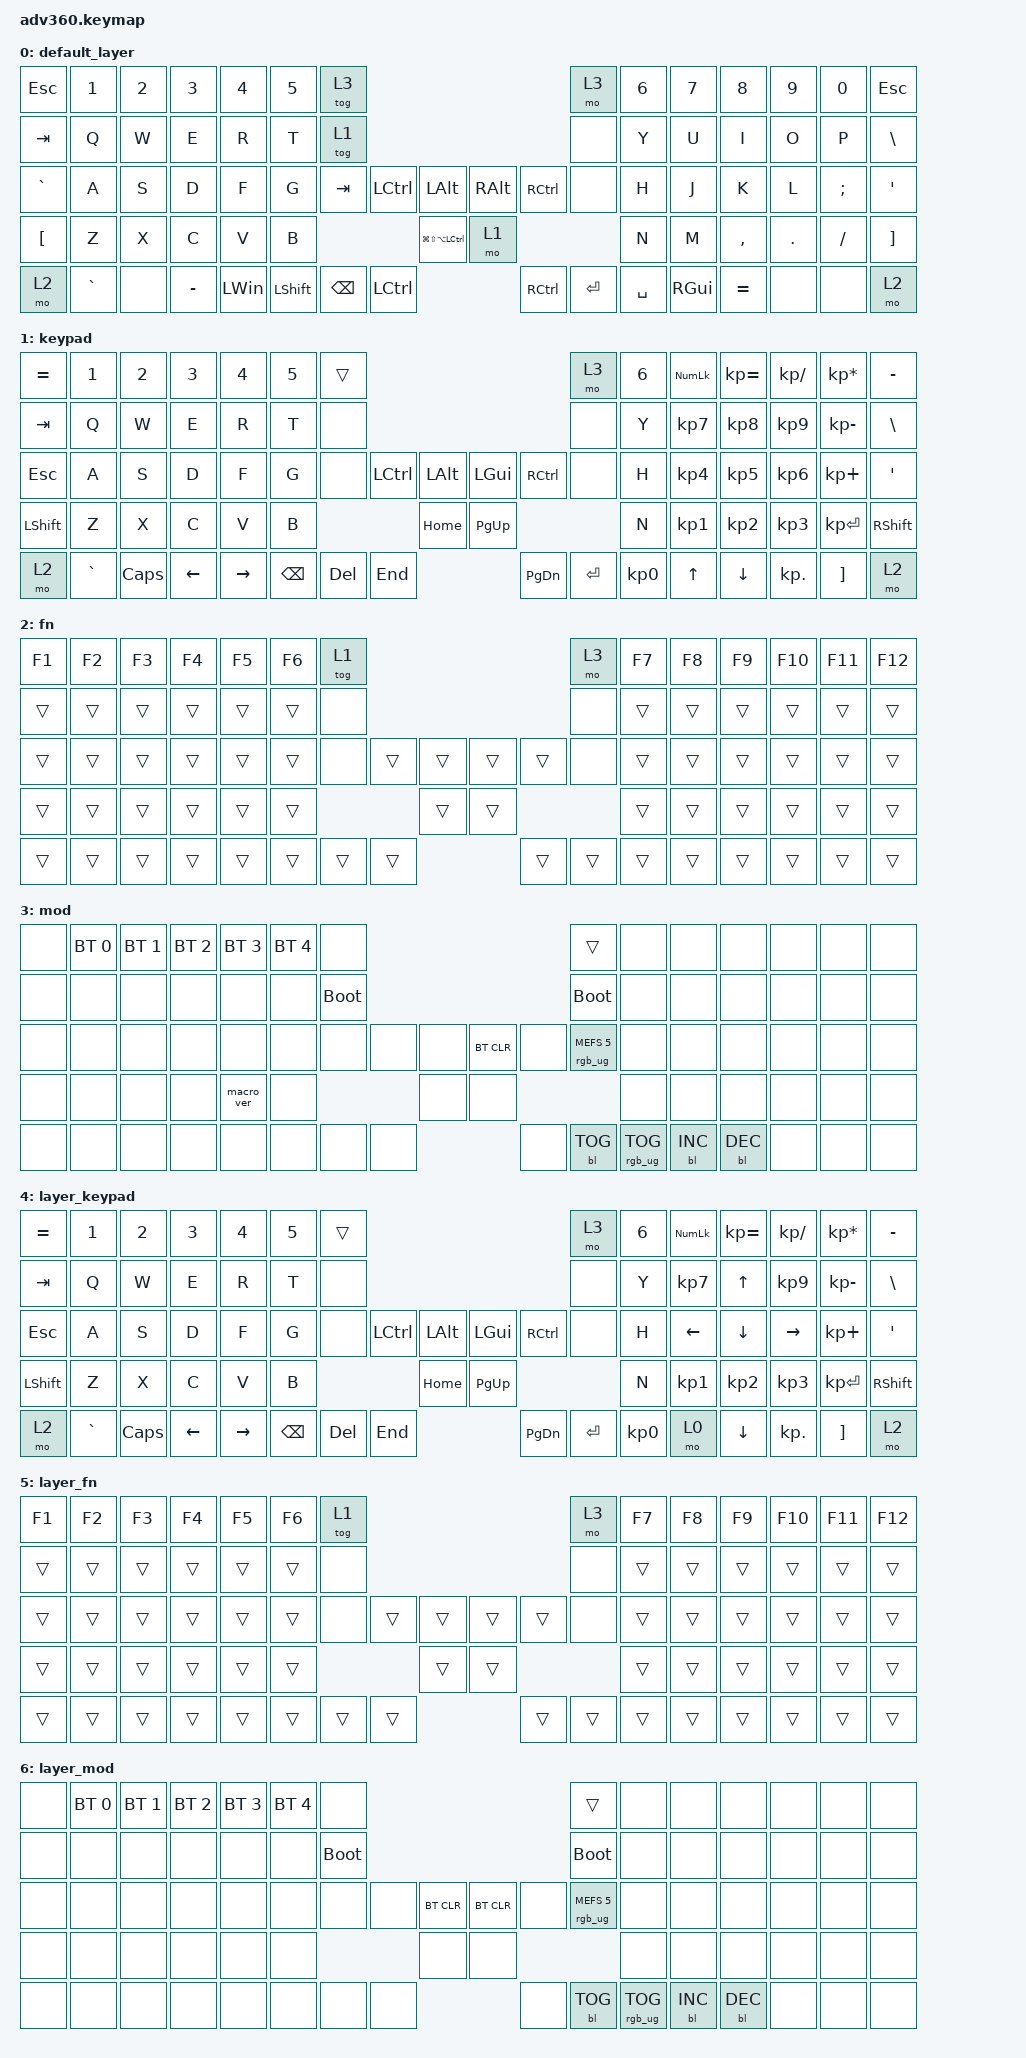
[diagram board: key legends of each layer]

/*
 * Copyright (c) 2020 The ZMK Contributors
 *
 * SPDX-License-Identifier: MIT
 */


/* THIS FILE WAS GENERATED!
 *
 * This file was generated automatically. You may or may not want to
 * edit it directly.
 */

#include <behaviors.dtsi>
#include <dt-bindings/zmk/keys.h>
#include <dt-bindings/zmk/bt.h>
#include <dt-bindings/zmk/rgb.h>
#include <dt-bindings/zmk/backlight.h>

#define MEH LS(LC(LALT))
#define HYPR LG(LS(LA(LCTRL)))

/ {
    behaviors {
      #include "macros.dtsi"
      #include "version.dtsi"
      #ifndef VERSION_MACRO
      macro_ver: macro_ver {
        compatible = "zmk,behavior-macro";
        label = "macro_version";
        #binding-cells = <0>;
        bindings = <&kp RET>;
      };
      #endif

      hm: homerow_mods {
          compatible = "zmk,behavior-hold-tap";
          label = "HOMEROW_MODS";
          #binding-cells = <2>;
          tapping-term-ms = <200>;
          quick_tap_ms = <175>;
          flavor = "tap-preferred";
          bindings = <&kp>, <&kp>;
      };
    };

  keymap {
    compatible = "zmk,keymap";

    default_layer {
      bindings = <
        &kp EQUAL &kp N1    &kp N2   &kp N3   &kp N4     &kp N5 &tog 1                                                           &mo 3 &kp N6 &kp N7 &kp N8    &kp N9   &kp N0   &kp MINUS
        &kp TAB   &kp Q     &kp W    &kp E    &kp R      &kp T  &none                                                            &none &kp Y  &kp U  &kp I     &kp O    &kp P    &kp BSLH
        &kp ESC   &kp A     &kp S    &kp D    &kp F      &kp G  &none           &kp LCTRL &kp LALT &kp LGUI  &kp RCTRL           &none &kp H  &kp J  &kp K     &kp L    &kp SEMI &kp SQT
        &kp LSHFT &kp Z     &kp X    &kp C    &kp V      &kp B                            &kp HOME &kp PG_UP                           &kp N  &kp M  &kp COMMA &kp DOT  &kp FSLH &kp RSHFT
        &mo 2     &kp GRAVE &kp CAPS &kp LEFT &kp RIGHT                &kp BSPC &kp DEL   &kp END  &kp PG_DN &kp ENTER &kp SPACE              &kp UP &kp DOWN  &kp LBKT &kp RBKT &mo 2
      >;
    };
    keypad {
      bindings = <
        &kp EQUAL &kp N1    &kp N2   &kp N3   &kp N4     &kp N5 &trans                                                           &mo 3 &kp N6 &kp KP_NUM &kp KP_EQUAL &kp KP_DIVIDE &kp KP_MULTIPLY &kp MINUS
        &kp TAB   &kp Q     &kp W    &kp E    &kp R      &kp T  &none                                                            &none &kp Y  &kp KP_N7  &kp KP_N8    &kp KP_N9     &kp KP_MINUS    &kp BSLH
        &kp ESC   &kp A     &kp S    &kp D    &kp F      &kp G  &none           &kp LCTRL &kp LALT &kp LGUI  &kp RCTRL           &none &kp H  &kp KP_N4  &kp KP_N5    &kp KP_N6     &kp KP_PLUS     &kp SQT
        &kp LSHFT &kp Z     &kp X    &kp C    &kp V      &kp B                            &kp HOME &kp PG_UP                           &kp N  &kp KP_N1  &kp KP_N2    &kp KP_N3     &kp KP_ENTER    &kp RSHFT
        &mo 2     &kp GRAVE &kp CAPS &kp LEFT &kp RIGHT                &kp BSPC &kp DEL   &kp END  &kp PG_DN &kp ENTER &kp KP_N0              &kp UP     &kp DOWN     &kp KP_DOT    &kp RBKT        &mo 2
      >;
    };
    fn {
      bindings = <
        &kp F1 &kp F2 &kp F3 &kp F4 &kp F5 &kp F6 &tog 1                                           &mo 3 &kp F7 &kp F8 &kp F9 &kp F10 &kp F11 &kp F12
        &trans &trans &trans &trans &trans &trans  &none                                           &none &trans &trans &trans &trans  &trans  &trans
        &trans &trans &trans &trans &trans &trans  &none        &trans &trans &trans &trans        &none &trans &trans &trans &trans  &trans  &trans
        &trans &trans &trans &trans &trans &trans                      &trans &trans                     &trans &trans &trans &trans  &trans  &trans
        &trans &trans &trans &trans &trans               &trans &trans &trans &trans &trans &trans              &trans &trans &trans  &trans  &trans
      >;
    };
    mod {
      bindings = <
        &none &bt BT_SEL 0 &bt BT_SEL 1 &bt BT_SEL 2 &bt BT_SEL 3 &bt BT_SEL 4 &none                                                                     &trans                 &none        &none        &none        &none &none &none
        &none &none        &none        &none        &none        &none        &bootloader                                                               &bootloader            &none        &none        &none        &none &none &none
        &none &none        &none        &none        &none        &none        &none                   &none &none &bt BT_CLR &none                      &rgb_ug RGB_MEFS_CMD 5 &none        &none        &none        &none &none &none
        &none &none        &none        &none        &macro_ver   &none                                      &none &none                                                        &none        &none        &none        &none &none &none
        &none &none        &none        &none        &none                                       &none &none &none &none      &bl BL_TOG &rgb_ug RGB_TOG                                     &bl BL_INC   &bl BL_DEC   &none &none &none
      >;
    };
  };

    keymap {
        compatible = "zmk,keymap";


        default_layer {
            bindings = <
       &kp ESCAPE     &kp N1  &kp N2     &kp N3        &kp N4  &kp N5                    &tog 3                                                                                     &mo 3  &kp N6         &kp N7     &kp N8   &kp N9    &kp N0            &kp ESC
          &kp TAB      &kp Q   &kp W      &kp E         &kp R   &kp T                    &tog 1                                                                                     &none   &kp Y          &kp U      &kp I    &kp O     &kp P           &kp BSLH
        &kp GRAVE      &kp A   &kp S      &kp D         &kp F   &kp G                   &kp TAB      &kp LCTRL          &kp LALT                           &kp RALT  &kp RCTRL      &none   &kp H          &kp J      &kp K    &kp L  &kp SEMI            &kp SQT
 &kp LEFT_BRACKET      &kp Z   &kp X      &kp C         &kp V   &kp B                                                &kp HYPR                              &mo 1                         &kp N          &kp M  &kp COMMA  &kp DOT  &kp FSLH  &kp RIGHT_BRACKET
            &mo 2  &kp GRAVE   &none  &kp MINUS  &kp LEFT_WIN                    &kp LEFT_SHIFT  &kp BACKSPACE  &kp LEFT_CONTROL                  &kp RIGHT_CONTROL  &kp ENTER  &kp SPACE          &kp RIGHT_GUI   &kp EQUAL    &none     &none              &mo 2
            >;
        };

        layer_keypad {
            bindings = <
 &kp EQUAL     &kp N1    &kp N2    &kp N3     &kp N4  &kp N5              &trans                                                                 &mo 3  &kp N6      &kp KP_NUM    &kp KP_EQUAL    &kp KP_DIVIDE  &kp KP_MULTIPLY  &kp MINUS
   &kp TAB      &kp Q     &kp W     &kp E      &kp R   &kp T               &none                                                                 &none   &kp Y       &kp KP_N7    &kp UP_ARROW        &kp KP_N9     &kp KP_MINUS   &kp BSLH
   &kp ESC      &kp A     &kp S     &kp D      &kp F   &kp G               &none  &kp LCTRL  &kp LALT                   &kp LGUI  &kp RCTRL      &none   &kp H  &kp LEFT_ARROW  &kp DOWN_ARROW  &kp RIGHT_ARROW      &kp KP_PLUS    &kp SQT
 &kp LSHFT      &kp Z     &kp X     &kp C      &kp V   &kp B                                 &kp HOME                  &kp PG_UP                         &kp N       &kp KP_N1       &kp KP_N2        &kp KP_N3     &kp KP_ENTER  &kp RSHFT
     &mo 2  &kp GRAVE  &kp CAPS  &kp LEFT  &kp RIGHT                    &kp BSPC    &kp DEL   &kp END                  &kp PG_DN  &kp ENTER  &kp KP_N0                   &mo 0        &kp DOWN       &kp KP_DOT         &kp RBKT      &mo 2
            >;
        };

        layer_fn {
            bindings = <
 &kp F1  &kp F2  &kp F3  &kp F4  &kp F5  &kp F6            &tog 1                                                   &mo 3  &kp F7  &kp F8  &kp F9  &kp F10  &kp F11  &kp F12
 &trans  &trans  &trans  &trans  &trans  &trans             &none                                                   &none  &trans  &trans  &trans   &trans   &trans   &trans
 &trans  &trans  &trans  &trans  &trans  &trans             &none  &trans  &trans                  &trans  &trans   &none  &trans  &trans  &trans   &trans   &trans   &trans
 &trans  &trans  &trans  &trans  &trans  &trans                            &trans                  &trans                  &trans  &trans  &trans   &trans   &trans   &trans
 &trans  &trans  &trans  &trans  &trans                    &trans  &trans  &trans                  &trans  &trans  &trans          &trans  &trans   &trans   &trans   &trans
            >;
        };

        layer_mod {
            bindings = <
  &none  &bt BT_SEL 0  &bt BT_SEL 1  &bt BT_SEL 2  &bt BT_SEL 3  &bt BT_SEL 4                  &none                                                                              &trans   &none       &none       &none   &none   &none   &none
  &none         &none         &none         &none         &none         &none            &bootloader                                                                         &bootloader   &none       &none       &none   &none   &none   &none
  &none         &none         &none         &none         &none         &none                  &none   &none  &bt BT_CLR                  &bt BT_CLR       &none  &rgb_ug RGB_MEFS_CMD 5   &none       &none       &none   &none   &none   &none
  &none         &none         &none         &none         &none         &none                                      &none                       &none                                       &none       &none       &none   &none   &none   &none
  &none         &none         &none         &none         &none                                &none   &none       &none                       &none  &bl BL_TOG         &rgb_ug RGB_TOG          &bl BL_INC  &bl BL_DEC   &none   &none   &none
            >;
        };

    };
};
